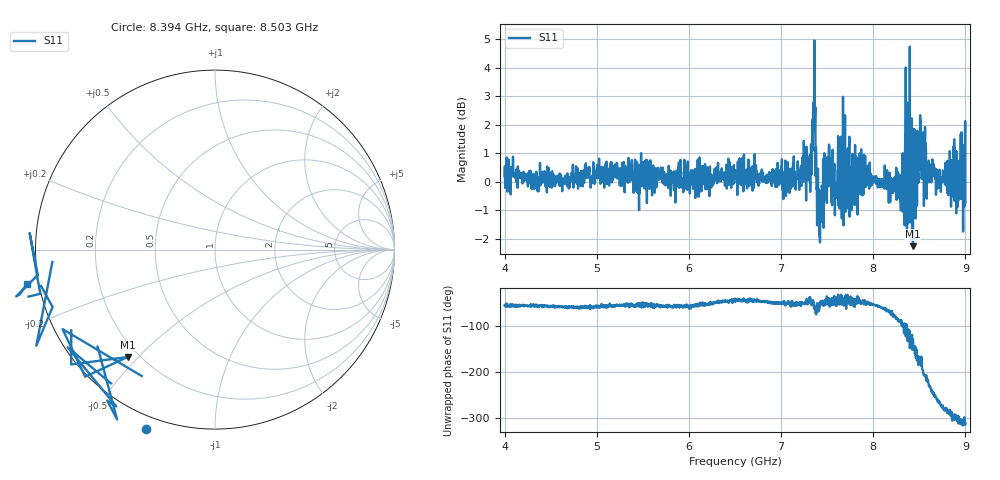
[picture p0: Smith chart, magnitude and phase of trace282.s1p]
! Created with skrf 1.8.0 (http://scikit-rf.org).
# Hz S RI R 50.0
!freq ReS11 ImS11
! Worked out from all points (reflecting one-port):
!   1601 points, 4 GHz to 9 GHz, reference 50 ohm
!   lowest |S11| = -2.3 dB at 8.431 GHz (marker M1), VSWR 7.76, Z = 7.87 - j23.3 ohm
!   phase of S11 starts at -56 deg and turns -254 deg over the sweep
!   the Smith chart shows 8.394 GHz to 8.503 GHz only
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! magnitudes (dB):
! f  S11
! 4 GHz  0.2
! 4.625 GHz  -0.3
! 5.25 GHz  -0.1
! 5.875 GHz  0.3
! 6.5 GHz  0.4
! 7.125 GHz  0.5
! 7.306 GHz  0.3
! 7.356 GHz  2.5
! 7.412 GHz  -0.8
! 7.438 GHz  -0.7
! 7.453 GHz  -1.3
! 7.525 GHz  1.2
! 7.588 GHz  -0.3
! 7.65 GHz  1.6
! 7.688 GHz  1.0
! 7.703 GHz  -0.2
! 7.75 GHz  0.5
! 7.922 GHz  -0.2
! 8.316 GHz  0.8
! 8.334 GHz  -0.3
! 8.375 GHz  0.2
! 8.412 GHz  -0.1
! 8.431 GHz  -2.3
! 8.519 GHz  0.6
! 8.603 GHz  0.7
! 8.722 GHz  -0.2
! 8.972 GHz  0.3
! 9 GHz  -0.7
